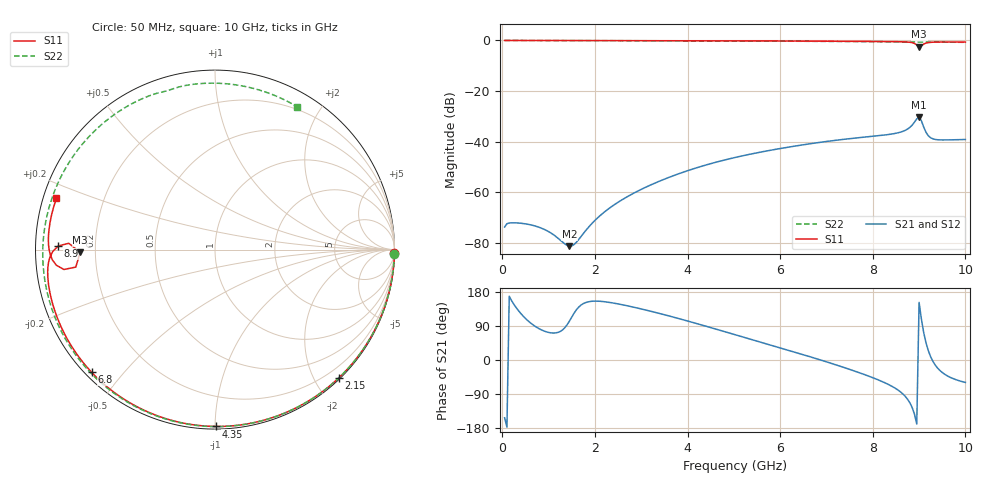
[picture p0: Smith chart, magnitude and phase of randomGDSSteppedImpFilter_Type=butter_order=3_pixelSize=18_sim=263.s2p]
! freq	dB(S11)	phase(S11)	dB(S12)	phase(S12)
!  dB(S21)	phase(S21)	dB(S22)	phase(S22)
!S-par simulation data
#  GHz  S  DB  R 50
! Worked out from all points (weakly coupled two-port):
!   200 points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, 50 MHz to 10 GHz, reference 50 ohm
!   highest |S21| = -30.38 dB at 9 GHz (marker M1); lowest = -81.4 dB at 1.45 GHz (marker M2)
!   lowest |S11| = -2.5 dB at 9 GHz (marker M3), VSWR 7.04, Z = 7.11 - j0.494 ohm
!   |S11| at or under -10 dB: nowhere
!   |S22| runs from -0.7 to 0.0 dB; largest |S21 - S12| = 0
!   S11 on the Smith chart (normalised r, x): 50 MHz: open; 2.15 GHz: 0.02, -2.36; 4.35 GHz: 0.01, -1.01; 6.8 GHz: 0.02, -0.41; 8.9 GHz: 0.07, +0.01; 10 GHz: 0.04, +0.16
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0.05  -0.00 -1.1  -73.79 -152.5  -73.79 -152.5  -0.00 -1.4
0.2  -0.00 -4.4  -72.14 156.7  -72.14 156.7  -0.00 -5.4
0.65  -0.01 -14.2  -73.09 94.0  -73.09 94.0  -0.02 -17.6
1.45  -0.04 -31.3  -81.38 102.7  -81.38 102.7  -0.05 -38.9
1.6  -0.04 -34.5  -79.82 132.5  -79.82 132.5  -0.05 -42.8
1.75  -0.05 -37.7  -76.37 148.8  -76.37 148.8  -0.06 -46.7
2.15  -0.06 -46.0  -68.68 154.5  -68.68 154.5  -0.07 -57.1
2.7  -0.07 -57.3  -61.79 143.1  -61.79 143.1  -0.09 -71.1
3.4  -0.09 -71.3  -55.61 122.7  -55.61 122.7  -0.12 -88.7
4.35  -0.13 -89.7  -49.52 90.9  -49.52 90.9  -0.16 -112.1
5.05  -0.16 -102.8  -46.19 66.0  -46.19 66.0  -0.20 -129.5
5.9  -0.21 -118.5  -43.07 35.6  -43.07 35.6  -0.26 -151.3
6.7  -0.26 -133.3  -40.72 6.6  -40.72 6.6  -0.34 -173.2
6.8  -0.27 -135.1  -40.45 2.8  -40.45 2.8  -0.35 -176.1
7.6  -0.34 -150.3  -38.65 -28.9  -38.65 -28.9  -0.44 159.2
8.35  -0.44 -165.5  -37.18 -65.3  -37.18 -65.3  -0.53 132.6
8.7  -0.58 -174.1  -35.56 -95.8  -35.56 -95.8  -0.58 118.8
8.9  -1.17 178.7  -32.34 -142.8  -32.34 -142.8  -0.64 110.5
9  -2.49 -178.8  -30.38 152.0  -30.38 152.0  -0.69 106.5
9.1  -1.42 -172.5  -34.26 72.2  -34.26 72.2  -0.65 102.4
9.3  -0.69 -179.9  -38.93 -3.9  -38.93 -3.9  -0.65 93.4
10  -0.64 162.0  -39.18 -59.2  -39.18 -59.2  -0.74 60.2
